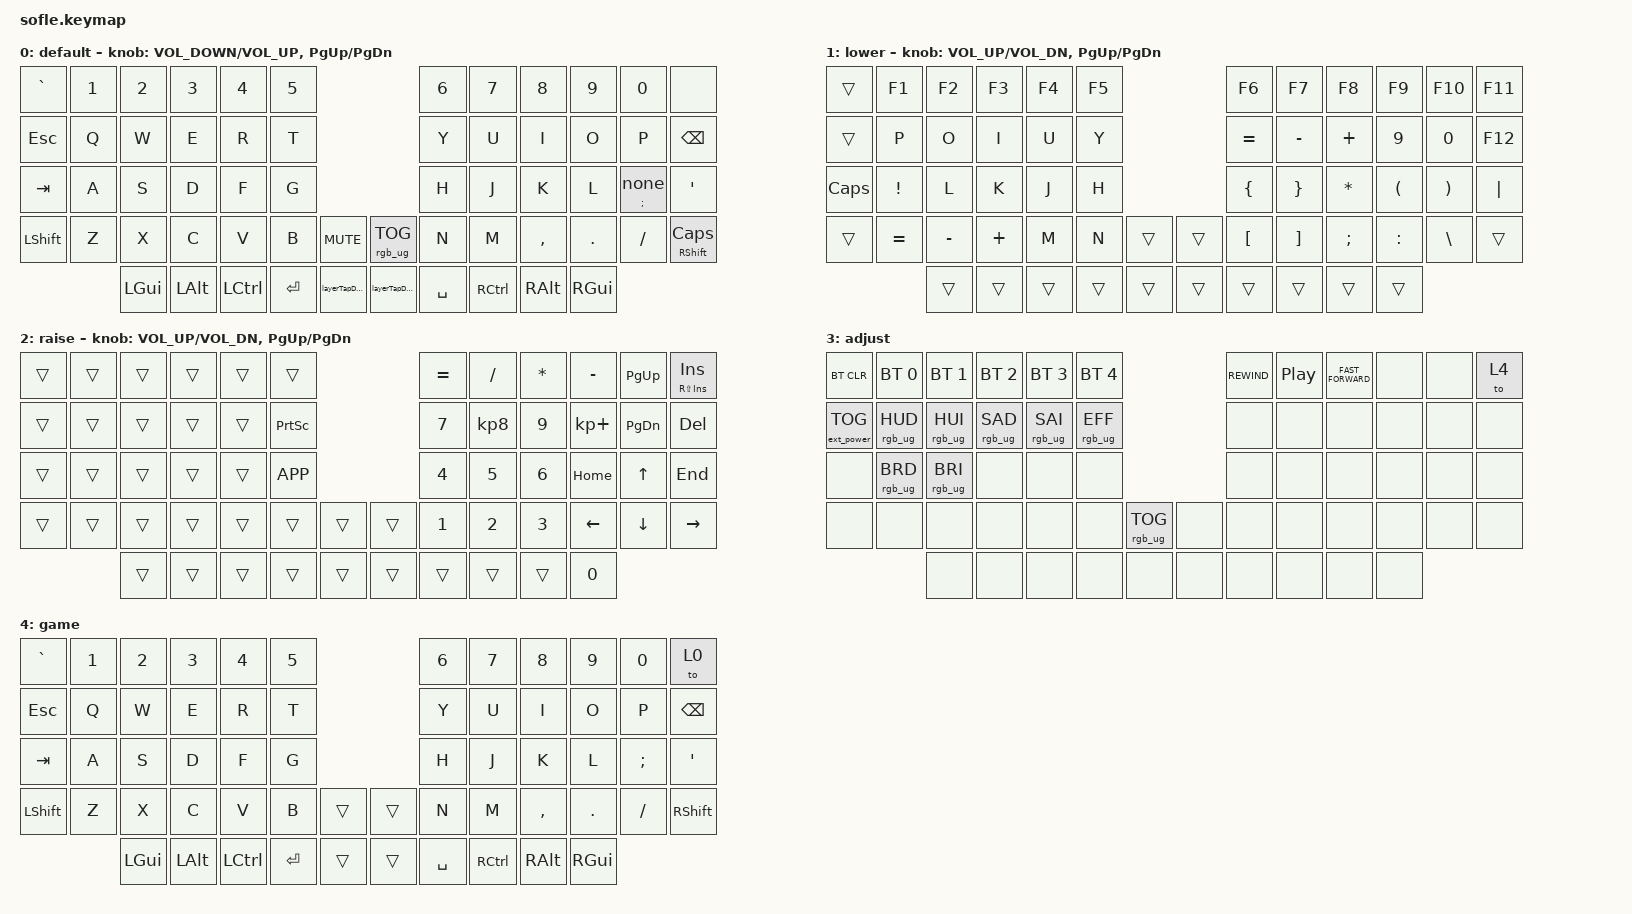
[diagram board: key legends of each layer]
/*
 * Copyright (c) 2020 The ZMK Contributors
 *
 * SPDX-License-Identifier: MIT
 */

#include <behaviors.dtsi>
#include <dt-bindings/zmk/bt.h>
#include <dt-bindings/zmk/ext_power.h>
#include <dt-bindings/zmk/keys.h>
#include <dt-bindings/zmk/rgb.h>

#define BASE 0
#define LOWER 1
#define RAISE 2
#define ADJUST 3

/ {
    // Activate ADJUST layer by pressing raise and lower

    conditional_layers {
        compatible = "zmk,conditional-layers";

        adjust_layer {
            if-layers = <LOWER RAISE>;
            then-layer = <ADJUST>;
        };
    };

    combos {
        compatible = "zmk,combos";

        combo_quare_brackets {
            bindings = <&kp LEFT_BRACKET>;
            key-positions = <21 22>;
            layers = <0>;
        };

        combo_curly_braces {
            bindings = <&kp LEFT_BRACE>;
            key-positions = <33 34>;
            layers = <0>;
        };

        combo_parens {
            bindings = <&kp LEFT_PARENTHESIS>;
            key-positions = <9 10>;
            layers = <0>;
        };

        combo_ep_toggle {
            bindings = <&ext_power EP_TOG>;
            key-positions = <5 6>;
        };

        combo_go_back {
            bindings = <&kp RA(LEFT_ARROW)>;
            key-positions = <58 47>;
            layers = <0 2>;
        };
    };

    behaviors {
        longpress: longpress {
            compatible = "zmk,behavior-hold-tap";
            label = "LONGPRESS";
            bindings = <&kp>, <&kp>;

            #binding-cells = <2>;
            tapping-term-ms = <350>;
            flavor = "tap-preferred";
        };

        superlayer: superlayer {
            compatible = "zmk,behavior-hold-tap";
            label = "SUPERLAYER";
            bindings = <&mo>, <&tog>;

            #binding-cells = <2>;
            tapping-term-ms = <350>;
        };

        HMshiftR: HMshiftR {
            compatible = "zmk,behavior-hold-tap";
            label = "HMSHIFTR";
            bindings = <&kp>, <&kp>;

            #binding-cells = <2>;
            tapping-term-ms = <200>;
            hold-while-undecided;
            hold-trigger-key-positions = <0 1 2 3 4 5 15 0 1 12 13 14 15 16 17 24 25 26 27 28 29 36 37 38 39 40 41 25 37 38 39 40 41 42 50 51 52 53 54>;
            hold-trigger-on-release;
        };

        HMshiftL: HMshiftL {
            compatible = "zmk,behavior-hold-tap";
            label = "HMSHIFTL";
            bindings = <&kp>, <&kp>;

            #binding-cells = <2>;
            tapping-term-ms = <200>;
            hold-while-undecided;
            hold-trigger-on-release;
            hold-trigger-key-positions = <6 7 8 9 10 11 18 19 20 21 22 23 30 31 32 33 34 35 43 44 45 46 47 48 49 55 56 57 58 59>;
        };

        layerTapDBTap2: layerTapDBTap2 {
            compatible = "zmk,behavior-tap-dance";
            label = "LAYERTAPDBTAP2";
            #binding-cells = <0>;
            bindings = <&sl 2>, <&tog 2>;
        };

        layerTapDBTap1: layerTapDBTap1 {
            compatible = "zmk,behavior-tap-dance";
            label = "LAYERTAPDBTAP1";
            #binding-cells = <0>;
            bindings = <&sl 1>, <&tog 1>;
        };

        longpress_only: longpress_only {
            compatible = "zmk,behavior-hold-tap";
            label = "LONGPRESS_ONLY";
            bindings = <&kp>, <&none>;

            #binding-cells = <2>;
            tapping-term-ms = <350>;
            flavor = "tap-preferred";
        };
    };

    keymap {
        compatible = "zmk,keymap";

        default_layer {
            display-name = "default";

            // ------------------------------------------------------------------------------------------------------------
            // |   `   |  1  |  2  |  3   |  4   |  5   |                   |  6   |  7    |  8    |  9   |   0   |       |
            // |  ESC  |  Q  |  W  |  E   |  R   |  T   |                   |  Y   |  U    |  I    |  O   |   P   | BKSPC |
            // |  TAB  |  A  |  S  |  D   |  F   |  G   |                   |  H   |  J    |  K    |  L   |   ;   |   '   |
            // | SHIFT |  Z  |  X  |  C   |  V   |  B   |  MUTE  |  |       |  N   |  M    |  ,    |  .   |   /   | SHIFT |
            //               | GUI | ALT  | CTRL | LOWER|  ENTER |  | SPACE | RAISE| CTRL  | ALT   | GUI  |

            bindings = <
&kp GRAVE  &kp N1  &kp N2    &kp N3    &kp N4     &kp N5                                         &kp N6     &kp N7     &kp N8     &kp N9    &kp N0                  &none
&kp ESC    &kp Q   &kp W     &kp E     &kp R      &kp T                                          &kp Y      &kp U      &kp I      &kp O     &kp P                   &kp BSPC
&kp TAB    &kp A   &kp S     &kp D     &kp F      &kp G                                          &kp H      &kp J      &kp K      &kp L     &longpress_only SEMI 0  &kp SQT
&kp LSHFT  &kp Z   &kp X     &kp C     &kp V      &kp B      &kp C_MUTE         &rgb_ug RGB_TOG  &kp N      &kp M      &kp COMMA  &kp DOT   &kp FSLH                &mt RSHFT CAPSLOCK
                   &kp LGUI  &kp LALT  &kp LCTRL  &kp ENTER  &layerTapDBTap1    &layerTapDBTap2  &kp SPACE  &kp RCTRL  &kp RALT   &kp RGUI
            >;

            sensor-bindings =
                <&inc_dec_kp C_VOLUME_DOWN C_VOLUME_UP>,
                <&inc_dec_kp PG_UP PG_DN>;
        };

        lower_layer {
            display-name = "lower";

            // TODO: Some binds are waiting for shifted keycode support.
            // ------------------------------------------------------------------------------------------------------------
            // |       |  F1 |  F2 |  F3  |  F4  |  F5  |                   |  F6  |  F7   |  F8   |  F9  |  F10  |  F11  |
            // |   `   |  1  |  2  |  3   |  4   |  5   |                   |  6   |  7    |  8    |  9   |   0   |  F12  |
            // |       |  !  |  @  |  #   |  $   |  %   |                   |  ^   |  &    |  *    |  (   |   )   |   |   |
            // |       |  =  |  -  |  +   |  {   |  }   |        |  |       |  [   |  ]    |  ;    |  :   |   \   |       |
            //               |     |      |      |      |        |  |       |      |       |       |      |

            bindings = <
&trans        &kp F1     &kp F2     &kp F3    &kp F4  &kp F5                    &kp F6     &kp F7     &kp F8     &kp F9     &kp F10   &kp F11
&trans        &kp P      &kp O      &kp I     &kp U   &kp Y                     &kp EQUAL  &kp MINUS  &kp PLUS   &kp N9     &kp N0    &kp F12
&kp CAPSLOCK  &kp EXCL   &kp L      &kp K     &kp J   &kp H                     &kp LBRC   &kp RBRC   &kp ASTRK  &kp LPAR   &kp RPAR  &kp PIPE
&trans        &kp EQUAL  &kp MINUS  &kp PLUS  &kp M   &kp N   &trans    &trans  &kp LBKT   &kp RBKT   &kp SEMI   &kp COLON  &kp BSLH  &trans
                         &trans     &trans    &trans  &trans  &trans    &trans  &trans     &trans     &trans     &trans
            >;

            sensor-bindings = <&inc_dec_kp C_VOL_UP C_VOL_DN &inc_dec_kp PG_UP PG_DN>;
        };

        raise_layer {
            display-name = "raise";

            // ------------------------------------------------------------------------------------------------------------
            // | BTCLR | BT1  | BT2  |  BT3  |  BT4  |  BT5 |                |      |      |       |      |       |       |
            // |       | INS  | PSCR | GUI   |       |      |                | PGUP |      |   ^   |      |       |       |
            // |       | ALT  | CTRL | SHIFT |       | CAPS |                | PGDN |   <- |   v   |  ->  |  DEL  | BKSPC |
            // |       | UNDO | CUT  | COPY  | PASTE |      |      |  |      |      |      |       |      |       |       |
            //                |      |       |       |      |      |  |      |      |      |       |      |

            bindings = <
&trans  &trans  &trans  &trans  &trans  &trans                             &kp EQUAL     &kp SLASH     &kp ASTERISK  &kp MINUS       &kp PAGE_UP     &longpress RS(INSERT) INSERT
&trans  &trans  &trans  &trans  &trans  &kp PRINTSCREEN                    &kp NUMBER_7  &kp KP_N8     &kp NUMBER_9  &kp KP_PLUS     &kp PAGE_DOWN   &kp DELETE
&trans  &trans  &trans  &trans  &trans  &kp K_APP                          &kp NUMBER_4  &kp NUMBER_5  &kp NUMBER_6  &kp HOME        &kp UP_ARROW    &kp END
&trans  &trans  &trans  &trans  &trans  &trans           &trans    &trans  &kp NUMBER_1  &kp NUMBER_2  &kp NUMBER_3  &kp LEFT_ARROW  &kp DOWN_ARROW  &kp RIGHT_ARROW
                &trans  &trans  &trans  &trans           &trans    &trans  &trans        &trans        &trans        &kp NUMBER_0
            >;

            sensor-bindings = <&inc_dec_kp C_VOL_UP C_VOL_DN &inc_dec_kp PG_UP PG_DN>;
        };

        adjust_layer {
            // ----------------------------------------------------------------------------------------------------------------------------
            // | BTCLR  |  BT1    |  BT2    |   BT3   |   BT4   |   BT5   |                  |      |      |       |      |       |       |
            // | EXTPWR | RGB_HUD | RGB_HUI | RGB_SAD | RGB_SAI | RGB_EFF |                  |      |      |       |      |       |       |
            // |        | RGB_BRD | RGB_BRI |         |         |         |                  |      |      |       |      |       |       |
            // |        |         |         |         |         |         | RGB_TOG | |      |      |      |       |      |       |       |
            //                    |         |         |         |         |         | |      |      |      |       |      |

            display-name = "adjust";
            bindings = <
&bt BT_CLR         &bt BT_SEL 0     &bt BT_SEL 1     &bt BT_SEL 2     &bt BT_SEL 3     &bt BT_SEL 4                               &kp C_REWIND  &kp C_PLAY_PAUSE  &kp C_FAST_FORWARD  &none  &none  &to 4
&ext_power EP_TOG  &rgb_ug RGB_HUD  &rgb_ug RGB_HUI  &rgb_ug RGB_SAD  &rgb_ug RGB_SAI  &rgb_ug RGB_EFF                            &none         &none             &none               &none  &none  &none
&none              &rgb_ug RGB_BRD  &rgb_ug RGB_BRI  &none            &none            &none                                      &none         &none             &none               &none  &none  &none
&none              &none            &none            &none            &none            &none            &rgb_ug RGB_TOG    &none  &none         &none             &none               &none  &none  &none
                                    &none            &none            &none            &none            &none              &none  &none         &none             &none               &none
            >;
        };

        game {
            bindings = <
&kp GRAVE  &kp N1  &kp N2    &kp N3    &kp N4     &kp N5                       &kp N6     &kp N7     &kp N8     &kp N9    &kp N0    &to 0
&kp ESC    &kp Q   &kp W     &kp E     &kp R      &kp T                        &kp Y      &kp U      &kp I      &kp O     &kp P     &kp BSPC
&kp TAB    &kp A   &kp S     &kp D     &kp F      &kp G                        &kp H      &kp J      &kp K      &kp L     &kp SEMI  &kp SQT
&kp LSHFT  &kp Z   &kp X     &kp C     &kp V      &kp B      &trans    &trans  &kp N      &kp M      &kp COMMA  &kp DOT   &kp FSLH  &kp RSHFT
                   &kp LGUI  &kp LALT  &kp LCTRL  &kp ENTER  &trans    &trans  &kp SPACE  &kp RCTRL  &kp RALT   &kp RGUI
            >;
        };
    };
};
